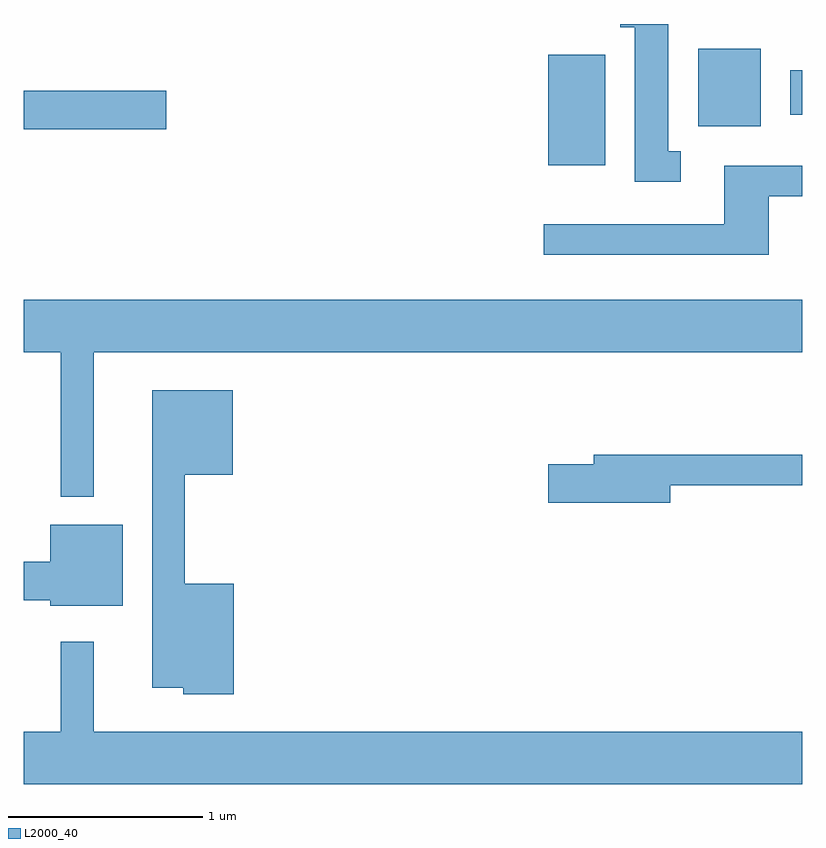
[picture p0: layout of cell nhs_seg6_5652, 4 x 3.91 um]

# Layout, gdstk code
import gdstk
lib = gdstk.Library(unit=1e-6, precision=1e-09)
def R(c, l, rs):  # rectangles x0, y0, x1, y1
    for r in rs: c.add(gdstk.rectangle(r[:2], r[2:], *l))
def P(c, l, *ps):  # polygons
    for p in ps: c.add(gdstk.Polygon(p, *l))
L2000_40 = (2000, 40)

nhs_seg6_5652 = lib.new_cell('nhs_seg6_5652')
R(nhs_seg6_5652, L2000_40, [(360.306,1555.436,360.599,1556.004), (357.611,1555.621,358.344,1555.819), (361.076,1555.636,361.399,1556.034), (361.551,1555.696,361.611,1555.924)])
P(nhs_seg6_5652, L2000_40, [(360.988,1555.509),(360.924,1555.509),(360.924,1556.162),(360.676,1556.162),(360.676,1556.146),(360.751,1556.146),(360.751,1555.351),(360.988,1555.351)],
  [(361.439,1555.276),(361.611,1555.276),(361.611,1555.434),(361.211,1555.434),(361.211,1555.134),(360.283,1555.134),(360.283,1554.976),(361.439,1554.976)],
  [(357.969,1554.476),(361.611,1554.476),(361.611,1554.744),(357.611,1554.744),(357.611,1554.476),(357.801,1554.476),(357.801,1553.733),(357.969,1553.733)],
  [(358.689,1553.284),(358.439,1553.284),(358.439,1553.846),(358.684,1553.846),(358.684,1554.279),(358.271,1554.279),(358.271,1552.751),(358.431,1552.751),(358.431,1552.716),(358.689,1552.716)],
  [(360.934,1553.791),(361.611,1553.791),(361.611,1553.949),(360.541,1553.949),(360.541,1553.899),(360.306,1553.899),(360.306,1553.701),(360.934,1553.701)],
  [(358.119,1553.589),(357.746,1553.589),(357.746,1553.399),(357.611,1553.399),(357.611,1553.201),(357.746,1553.201),(357.746,1553.171),(358.119,1553.171)],
  [(361.611,1552.524),(357.969,1552.524),(357.969,1552.988),(357.801,1552.988),(357.801,1552.524),(357.611,1552.524),(357.611,1552.256),(361.611,1552.256)])

lib.write_gds('nhs_seg6_5652.gds')
